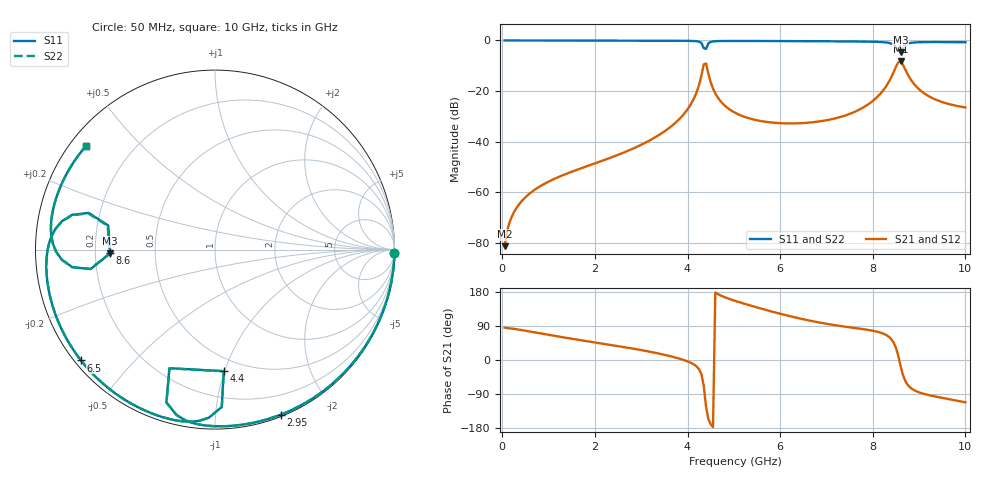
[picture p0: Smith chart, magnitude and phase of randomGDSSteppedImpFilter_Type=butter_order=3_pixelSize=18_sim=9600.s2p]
! freq	dB(S11)	phase(S11)	dB(S12)	phase(S12)
!  dB(S21)	phase(S21)	dB(S22)	phase(S22)
!S-par simulation data
#  GHz  S  DB  R 50
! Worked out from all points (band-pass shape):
!   200 points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, 50 MHz to 10 GHz, reference 50 ohm
!   highest |S21| = -8.31 dB at 8.6 GHz (marker M1); lowest = -81.3 dB at 50 MHz (marker M2)
!   |S21| within 3 dB of the highest: 4.329 GHz to 4.427 GHz (98.17 MHz wide, 2.24 % of centre); 8.479 GHz to 8.697 GHz (217.4 MHz wide, 2.53 % of centre)
!   lowest |S11| = -4.7 dB at 8.6 GHz (marker M3), VSWR 3.80, Z = 13.1 - j0.832 ohm
!   |S11| at or under -10 dB: nowhere
!   |S22| runs from -4.6 to 0.0 dB; largest |S21 - S12| = 0
!   S11 on the Smith chart (normalised r, x): 50 MHz: 0, -96; 2.95 GHz: 0.02, -1.47; 4.4 GHz: 0.40, -0.99; 6.5 GHz: 0.02, -0.36; 8.6 GHz: 0.26, -0.02; 10 GHz: 0.05, +0.35
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0.05  -0.00 -1.2  -81.32 85.5  -81.32 85.5  -0.00 -1.2
0.2  -0.00 -4.8  -69.87 83.0  -69.87 83.0  -0.00 -4.8
0.5  -0.01 -12.0  -61.98 77.3  -61.98 77.3  -0.01 -12.0
1.75  -0.05 -41.2  -50.21 51.1  -50.21 51.1  -0.05 -41.2
2.95  -0.09 -68.3  -41.67 27.3  -41.67 27.3  -0.09 -68.3
3.4  -0.11 -78.3  -37.19 16.5  -37.19 16.5  -0.11 -78.3
4.05  -0.18 -94.3  -25.86 -6.2  -25.86 -6.2  -0.18 -94.2
4.25  -0.48 -103.1  -17.53 -24.7  -17.53 -24.7  -0.48 -103.0
4.35  -3.00 -111.0  -9.48 -68.0  -9.48 -68.0  -2.99 -111.0
4.4  -3.36 -85.9  -9.09 -123.6  -9.09 -123.6  -3.35 -85.9
4.5  -0.57 -92.1  -16.54 -169.5  -16.54 -169.5  -0.57 -92.1
4.65  -0.25 -99.3  -22.46 174.2  -22.46 174.2  -0.25 -99.3
5.05  -0.19 -109.8  -28.77 155.2  -28.77 155.2  -0.19 -109.7
6.5  -0.27 -140.4  -32.65 107.5  -32.65 107.5  -0.27 -140.4
6.7  -0.29 -144.6  -32.34 102.4  -32.34 102.4  -0.29 -144.6
7.7  -0.42 -166.9  -27.44 83.0  -27.44 83.0  -0.42 -166.8
8.35  -0.97 172.3  -16.28 60.9  -16.28 60.9  -0.97 172.5
8.5  -2.70 163.8  -10.44 32.3  -10.44 32.3  -2.68 164.0
8.6  -4.68 -178.0  -8.31 -15.5  -8.31 -15.5  -4.63 -178.0
8.75  -1.35 -176.3  -13.26 -64.9  -13.26 -64.9  -1.35 -176.3
9.1  -0.65 168.2  -20.78 -89.3  -20.78 -89.3  -0.65 168.3
10  -0.71 141.3  -26.49 -111.7  -26.49 -111.7  -0.71 141.4
